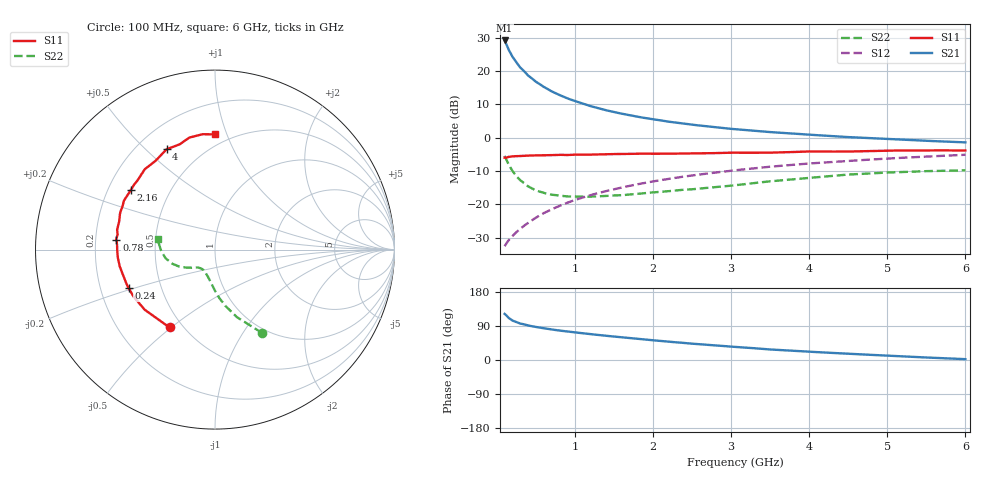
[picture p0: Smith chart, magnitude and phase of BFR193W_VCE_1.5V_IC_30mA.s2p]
! Infineon Technologies  Discrete & RF Semiconductors
! BFR193W
! VCE =  1.5 V,  IC =  30 mA
! Common Emitter S-Parameters:  Nov 2015
# GHz  S  MA  R  50
!  f  S11  S21  S12  S22
! GHz  MAG  ANG  MAG  ANG  MAG  ANG  MAG  ANG
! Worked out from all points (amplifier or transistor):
!   192 points, 100 MHz to 6 GHz, reference 50 ohm
!   highest |S21| = 29.2 dB at 100 MHz (marker M1)
!   |S21| within 3 dB of that: start of sweep to 157.1 MHz
!   unconditionally stable (mu >= 1): 583.4 MHz to 2.583 GHz
!   at 440 MHz: K = 0.95, MSG = 21.5 dB, |S12| = -24.9 dB
!   at 1.7 GHz: K = 1.03, MAG = 9.6 dB, |S12| = -14.5 dB
!   at 6 GHz: K = 0.93, MSG = 1.9 dB, |S12| = -5.1 dB
!   S11 on the Smith chart (normalised r, x): 100 MHz: 0.42, -0.49; 240 MHz: 0.32, -0.19; 780 MHz: 0.29, +0.04; 2.16 GHz: 0.30, +0.29; 4 GHz: 0.32, +0.58; 6 GHz: 0.42, +0.91
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0.1  0.5024 -120.3  28.79 121.7  0.0235 56.8  0.5333 -60.5
0.15  0.5155 -139.5  21.05 111.0  0.0287 56.4  0.3961 -72.0
0.2  0.5241 -150.3  16.43 104.2  0.0332 58.1  0.3169 -79.7
0.24  0.527 -156.1  14.01 100.8  0.0371 59.7  0.274 -84.5
0.26  0.5286 -158.5  12.98 99.1  0.039 60.5  0.2568 -86.6
0.3  0.5303 -162.6  11.31 96.2  0.0427 62.1  0.2301 -89.9
0.4  0.5389 -170.0  8.583 91.0  0.0525 65.2  0.1859 -97.2
0.5  0.5433 -175.3  6.921 87.1  0.0627 67.0  0.1614 -102.8
0.6  0.5448 -179.5  5.798 83.7  0.0735 68.2  0.1482 -108.1
0.7  0.5463 177.1  4.97 80.6  0.0837 69.1  0.1395 -111.8
0.78  0.5519 174.6  4.495 78.4  0.0921 69.4  0.1362 -114.6
0.9  0.5491 171.1  3.899 75.2  0.1052 69.5  0.1311 -118.2
1.1  0.5559 166.0  3.255 70.6  0.1264 69.1  0.13 -123.3
1.2  0.5566 163.5  2.976 68.2  0.137 68.8  0.1301 -126.2
1.5  0.5677 157.9  2.423 61.8  0.1678 67.4  0.1361 -131.8
2.08  0.5738 146.1  1.824 50.6  0.2284 63.5  0.1533 -139.0
2.16  0.5745 144.8  1.766 49.1  0.2364 62.9  0.1558 -139.8
3.1  0.594 129.6  1.326 33.9  0.3283 54.9  0.1962 -149.7
4  0.6207 115.7  1.109 21.8  0.4095 46.8  0.2492 -161.4
4.1  0.6195 114.3  1.09 20.8  0.4169 45.9  0.2547 -163.3
5.1  0.6407 101.5  0.944 10.5  0.4928 37.0  0.3022 -180.0
6  0.642 89.8  0.85 2.2  0.5537 29.0  0.3236 169.6
